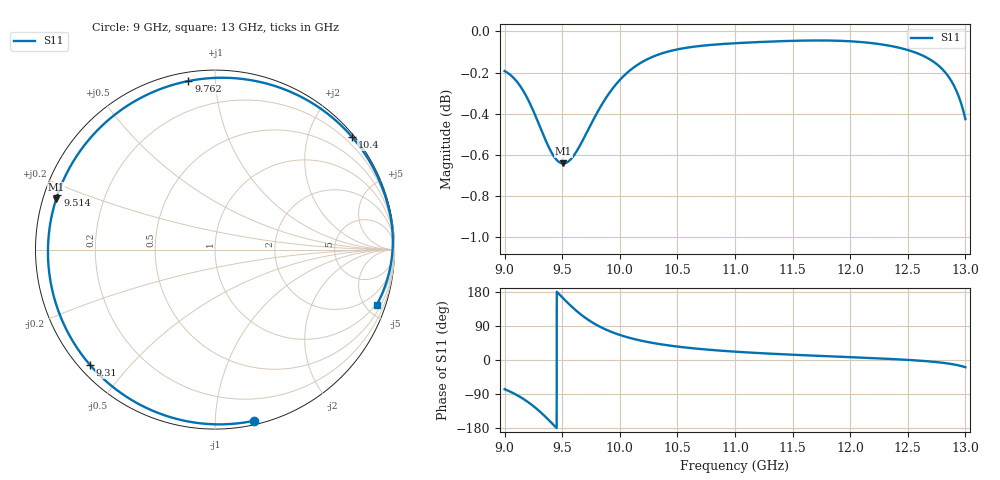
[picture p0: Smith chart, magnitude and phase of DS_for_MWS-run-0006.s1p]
! TOUCHSTONE file generated by CST DESIGN STUDIO
! Date and time: Tue Feb  4 15:43:07 2025
! Project name: C:\Work\MatlabApps\UnitCellOptimizationMatlab\CST\unitcell.cst
! Tree item: Tasks\Sweep1\SPara1\S-Parameters
! Header version: 2024
! Port assignment regex: !\s*Touchstone port\s*([0-9]+)\s*=\s*(CST MWS port|CST DES external port|CST DES block port)\s*(.+)\s* \(\"(.*)\"\)(\s*mode\s*([0-9]+))?.*
! Touchstone port assignment:
! Touchstone port 1 = CST DES external port 1 ("")
# GHz S MA R 50
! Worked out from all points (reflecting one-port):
!   4001 points, 9 GHz to 13 GHz, reference 50 ohm
!   lowest |S11| = -0.6 dB at 9.509 GHz (marker M1), VSWR 27.09, Z = 1.89 + j7.69 ohm
!   phase of S11 starts at -77 deg and turns -302 deg over the sweep
!   S11 on the Smith chart (normalised r, x): 9 GHz: 0.03, -1.26; 9.31 GHz: 0.03, -0.39; 9.514 GHz: 0.04, +0.17; 9.762 GHz: 0.04, +0.85; 10.4 GHz: 0.05, +2.78; 13 GHz: 0.88, -5.83
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9  0.9781 -77.0
9.078  0.9744 -88.0
9.176  0.9658 -105.3
9.245  0.9571 -120.5
9.31  0.9476 -137.2
9.363  0.94 -152.3
9.41  0.9342 -166.6
9.455  0.9305 179.3
9.5  0.9288 165.3
9.509  0.9288 162.5
9.514  0.9288 160.9
9.576  0.9311 142.6
9.635  0.9362 126.8
9.696  0.943 112.4
9.762  0.9508 99.0
9.878  0.9633 80.4
10  0.9732 66.1
10.178  0.9825 51.5
10.399  0.9885 39.5
10.5  0.99 35.4
10.721  0.9921 28.4
11  0.9934 22.0
11.5  0.9948 13.9
12  0.9945 7.5
12.5  0.9897 0.3
12.8  0.9791 -7.2
12.901  0.9701 -11.8
13  0.9521 -19.0
